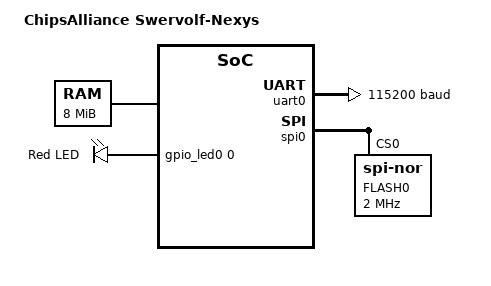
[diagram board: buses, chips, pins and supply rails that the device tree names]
/* SPDX-License-Identifier: Apache-2.0 */

/dts-v1/;

#include <riscv32-swerv.dtsi>

/ {
	model = "ChipsAlliance Swervolf-Nexys";
	compatible = "ChipsAlliance,Swervolf-Nexys";
	aliases {
		led0 = &led_0;
	};

	chosen {
		zephyr,console = &uart0;
		zephyr,shell-uart = &uart0;
		zephyr,sram = &sram;
	};

	sram: memory@0 {
		compatible = "mmio-sram";
		reg = <0x00000000 0x00800000>;
	};
	leds {
		compatible = "gpio-leds";
		led_0: led {
			gpios = <&gpio_led0 0 GPIO_ACTIVE_HIGH>;
			label = "Red LED";
		};
	};

};

&gpio_led0 {
	status = "okay";
};
&uart0 {
	status = "okay";
	current-speed = <115200>;
	clock-frequency = <50000000>;
};

&spi0 {
	status = "okay";

	flash0: flash@0 {
		compatible = "jedec,spi-nor";
		label = "FLASH0";
		jedec-id = [01 20 18];
		size = <0x1000000>;
		reg = <0>;
		spi-max-frequency = <2000000>;
	};
};
